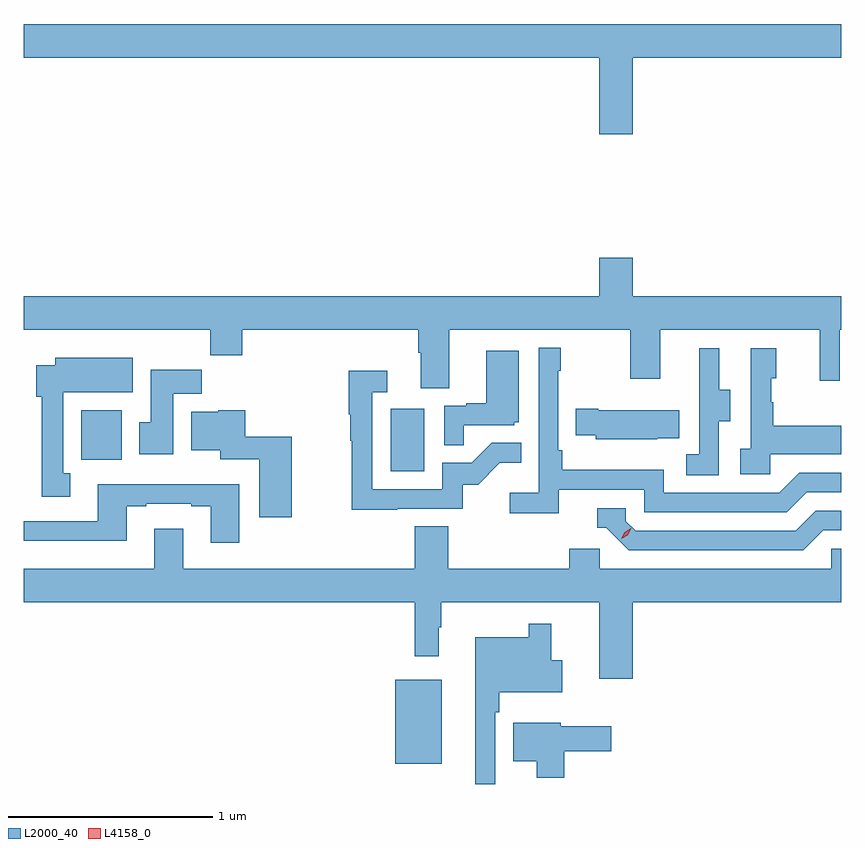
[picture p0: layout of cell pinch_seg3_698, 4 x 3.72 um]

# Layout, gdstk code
import gdstk
lib = gdstk.Library(unit=1e-6, precision=1e-09)
def R(c, l, rs):  # rectangles x0, y0, x1, y1
    for r in rs: c.add(gdstk.rectangle(r[:2], r[2:], *l))
def P(c, l, *ps):  # polygons
    for p in ps: c.add(gdstk.Polygon(p, *l))
L2000_40 = (2000, 40)
L4158_0 = (4158, 0)

pinch_seg3_698 = lib.new_cell('pinch_seg3_698')
R(pinch_seg3_698, L2000_40, [(1087.088,668.159,1087.315,668.569), (1087.064,669.588,1087.228,669.895), (1085.552,669.644,1085.749,669.886)])
P(pinch_seg3_698, L2000_40, [(1085.269,671.612),(1088.084,671.612),(1088.084,671.238),(1088.248,671.238),(1088.248,671.612),(1089.269,671.612),(1089.269,671.776),(1085.269,671.776)],
  [(1087.351,670.28),(1088.236,670.28),(1088.236,670.041),(1088.383,670.041),(1088.383,670.28),(1089.164,670.28),(1089.164,670.032),(1089.261,670.032),(1089.261,670.28),(1089.269,670.28),(1089.269,670.444),(1088.248,670.444),(1088.248,670.633),(1088.084,670.633),(1088.084,670.444),(1085.269,670.444),(1085.269,670.28),(1086.181,670.28),(1086.181,670.156),(1086.338,670.156),(1086.338,670.28),(1087.199,670.28),(1087.199,670.168),(1087.211,670.168),(1087.211,669.994),(1087.351,669.994)],
  [(1087.886,669.498),(1088.304,669.498),(1088.304,669.387),(1089.001,669.387),(1089.1,669.486),(1089.269,669.486),(1089.269,669.582),(1089.063,669.582),(1088.964,669.483),(1088.4,669.483),(1088.4,669.595),(1087.904,669.595),(1087.904,669.691),(1087.884,669.691),(1087.884,670.079),(1087.897,670.079),(1087.897,670.192),(1087.788,670.192),(1087.788,669.484),(1087.647,669.484),(1087.647,669.382),(1087.886,669.382)],
  [(1088.67,669.832),(1088.725,669.832),(1088.725,669.987),(1088.671,669.987),(1088.671,670.189),(1088.573,670.189),(1088.573,669.975),(1088.574,669.975),(1088.574,669.671),(1088.511,669.671),(1088.511,669.568),(1088.67,669.568)],
  [(1088.922,669.671),(1089.269,669.671),(1089.269,669.811),(1088.935,669.811),(1088.935,669.926),(1088.925,669.926),(1088.925,670.044),(1088.95,670.044),(1088.95,670.189),(1088.826,670.189),(1088.826,669.698),(1088.775,669.698),(1088.775,669.573),(1088.922,669.573)],
  [(1087.421,669.813),(1087.668,669.813),(1087.668,669.828),(1087.69,669.828),(1087.69,670.177),(1087.532,670.177),(1087.532,669.922),(1087.433,669.922),(1087.433,669.909),(1087.326,669.909),(1087.326,669.715),(1087.421,669.715)],
  [(1085.497,669.578),(1085.464,669.578),(1085.464,669.974),(1085.803,669.974),(1085.803,670.144),(1085.423,670.144),(1085.423,670.108),(1085.33,670.108),(1085.33,669.954),(1085.357,669.954),(1085.357,669.465),(1085.497,669.465)],
  [(1086.001,669.968),(1086.14,669.968),(1086.14,670.086),(1085.891,670.086),(1085.891,669.828),(1085.834,669.828),(1085.834,669.672),(1086.001,669.672)],
  [(1087.097,669.405),(1087.416,669.405),(1087.416,669.522),(1087.492,669.522),(1087.599,669.629),(1087.703,669.629),(1087.703,669.728),(1087.559,669.728),(1087.461,669.63),(1087.317,669.63),(1087.317,669.501),(1086.975,669.501),(1086.975,669.975),(1087.048,669.975),(1087.048,670.081),(1086.859,670.081),(1086.859,669.868),(1086.867,669.868),(1086.867,669.738),(1086.874,669.738),(1086.874,669.4),(1087.097,669.4)],
  [(1088.369,669.749),(1088.477,669.749),(1088.477,669.886),(1088.08,669.886),(1088.08,669.894),(1087.969,669.894),(1087.969,669.764),(1088.067,669.764),(1088.067,669.746),(1088.369,669.746)],
  [(1086.58,669.757),(1086.353,669.757),(1086.353,669.886),(1086.222,669.886),(1086.222,669.88),(1086.089,669.88),(1086.089,669.692),(1086.23,669.692),(1086.23,669.647),(1086.422,669.647),(1086.422,669.363),(1086.58,669.363)],
  [(1086.325,669.526),(1085.633,669.526),(1085.633,669.345),(1085.269,669.345),(1085.269,669.248),(1085.773,669.248),(1085.773,669.417),(1085.869,669.417),(1085.869,669.429),(1086.089,669.429),(1086.089,669.417),(1086.185,669.417),(1086.185,669.24),(1086.325,669.24)],
  [(1089.181,669.3),(1089.269,669.3),(1089.269,669.396),(1089.144,669.396),(1089.045,669.297),(1088.262,669.297),(1088.214,669.345),(1088.214,669.408),(1088.075,669.408),(1088.075,669.312),(1088.118,669.312),(1088.229,669.201),(1089.082,669.201)],
  [(1088.248,668.948),(1089.269,668.948),(1089.269,669.21),(1089.219,669.21),(1089.219,669.112),(1088.088,669.112),(1088.088,669.21),(1087.937,669.21),(1087.937,669.112),(1087.346,669.112),(1087.346,669.32),(1087.181,669.32),(1087.181,669.112),(1086.049,669.112),(1086.049,669.307),(1085.909,669.307),(1085.909,669.112),(1085.269,669.112),(1085.269,668.948),(1087.183,668.948),(1087.183,668.685),(1087.3,668.685),(1087.3,668.825),(1087.312,668.825),(1087.312,668.948),(1088.084,668.948),(1088.084,668.574),(1088.248,668.574)],
  [(1087.575,668.411),(1087.595,668.411),(1087.595,668.507),(1087.903,668.507),(1087.903,668.665),(1087.851,668.665),(1087.851,668.842),(1087.74,668.842),(1087.74,668.776),(1087.478,668.776),(1087.478,668.059),(1087.575,668.059)],
  [(1087.913,668.219),(1088.143,668.219),(1088.143,668.341),(1087.896,668.341),(1087.896,668.359),(1087.664,668.359),(1087.664,668.171),(1087.778,668.171),(1087.778,668.09),(1087.913,668.09)])
P(pinch_seg3_698, L4158_0, [(1088.193,669.258),(1088.193,669.258),(1088.209,669.29),(1088.239,669.309),(1088.24,669.309),(1088.24,669.309),(1088.224,669.276),(1088.193,669.258)])

lib.write_gds('pinch_seg3_698.gds')
